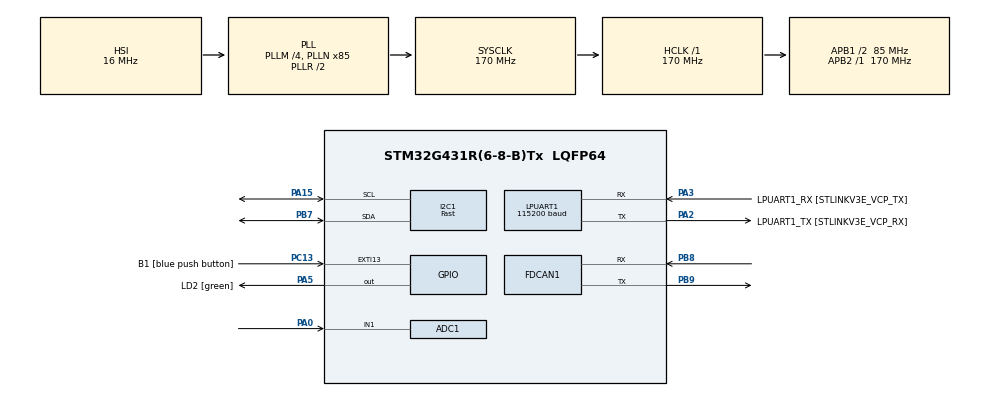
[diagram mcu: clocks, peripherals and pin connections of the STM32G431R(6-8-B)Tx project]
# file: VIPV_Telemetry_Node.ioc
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ADC1.Channel-0\#ChannelRegularConversion=ADC_CHANNEL_1
ADC1.NbrOfConversionFlag=1
ADC1.OffsetNumber-0\#ChannelRegularConversion=ADC_OFFSET_NONE
ADC1.Rank-0\#ChannelRegularConversion=1
ADC1.SamplingTime-0\#ChannelRegularConversion=ADC_SAMPLETIME_247CYCLES_5
ADC1.master=1
Dma.ADC1.0.Direction=DMA_PERIPH_TO_MEMORY
Dma.ADC1.0.EventEnable=DISABLE
Dma.ADC1.0.Instance=DMA1_Channel1
Dma.ADC1.0.MemDataAlignment=DMA_MDATAALIGN_HALFWORD
Dma.ADC1.0.MemInc=DMA_MINC_ENABLE
Dma.ADC1.0.Mode=DMA_CIRCULAR
Dma.ADC1.0.PeriphDataAlignment=DMA_PDATAALIGN_HALFWORD
Dma.ADC1.0.PeriphInc=DMA_PINC_DISABLE
Dma.ADC1.0.Polarity=HAL_DMAMUX_REQ_GEN_RISING
Dma.ADC1.0.Priority=DMA_PRIORITY_LOW
Dma.ADC1.0.RequestNumber=1
Dma.ADC1.0.SignalID=NONE
Dma.ADC1.0.SyncEnable=DISABLE
Dma.ADC1.0.SyncPolarity=HAL_DMAMUX_SYNC_NO_EVENT
Dma.ADC1.0.SyncRequestNumber=1
Dma.ADC1.0.SyncSignalID=NONE
Dma.Request0=ADC1
FDCAN1.CalculateBaudRateNominal=499999
FDCAN1.CalculateTimeBitNominal=2000
FDCAN1.CalculateTimeQuantumNominal=117.64705882352942
FDCAN1.Mode=FDCAN_MODE_NORMAL
FDCAN1.NominalPrescaler=10
FDCAN1.NominalTimeSeg1=14
FDCAN1.NominalTimeSeg2=2
I2C1.I2C_Speed_Mode=I2C_Fast
I2C1.Timing=0x20510E2D
LPUART1.BaudRate=115200
Mcu.Family=STM32G4
Mcu.Name=STM32G431R(6-8-B)Tx
Mcu.Package=LQFP64
NVIC.ADC1_2_IRQn=true\:0\:0\:false\:false\:true\:true\:true\:true
NVIC.DMA1_Channel1_IRQn=true\:0\:0\:false\:false\:true\:false\:true\:true
NVIC.FDCAN1_IT0_IRQn=true\:0\:0\:false\:false\:true\:true\:true\:true
NVIC.FDCAN1_IT1_IRQn=true\:0\:0\:false\:false\:true\:true\:true\:true
NVIC.I2C1_ER_IRQn=true\:0\:0\:false\:false\:true\:true\:true\:true
NVIC.I2C1_EV_IRQn=true\:0\:0\:false\:false\:true\:true\:true\:true
NVIC.PriorityGroup=NVIC_PRIORITYGROUP_4
PA0.Mode=IN1-Single-Ended
PA0.Signal=ADC1_IN1
PA13.GPIO_Label=T_SWDIO
PA13.Signal=SYS_JTMS-SWDIO
PA14.GPIO_Label=T_SWCLK
PA14.Signal=SYS_JTCK-SWCLK
PA15.Mode=I2C
PA15.Signal=I2C1_SCL
PA2.GPIO_Label=LPUART1_TX [STLINKV3E_VCP_RX]
PA2.Mode=Asynchronous
PA2.Signal=LPUART1_TX
PA3.GPIO_Label=LPUART1_RX [STLINKV3E_VCP_TX]
PA3.Mode=Asynchronous
PA3.Signal=LPUART1_RX
PA5.GPIO_Label=LD2 [green]
PA5.Signal=GPIO_Output
PB3.GPIO_Label=T_SWO
PB3.Signal=SYS_JTDO-SWO
PB7.Mode=I2C
PB7.Signal=I2C1_SDA
PB8-BOOT0.Mode=FDCAN_Activate
PB8-BOOT0.Signal=FDCAN1_RX
PB9.Mode=FDCAN_Activate
PB9.Signal=FDCAN1_TX
PC13.GPIO_Label=B1 [blue push button]
PC13.Signal=GPXTI13
PC14-OSC32_IN.GPIO_Label=RCC_OSC32_OUT
PC14-OSC32_IN.Signal=RCC_OSC32_IN
PC15-OSC32_OUT.GPIO_Label=RCC_OSC32_OUT
PC15-OSC32_OUT.Signal=RCC_OSC32_OUT
PF0-OSC_IN.GPIO_Label=RCC_OSC_IN
PF0-OSC_IN.Signal=RCC_OSC_IN
PF1-OSC_OUT.GPIO_Label=RCC_OSC_OUT
PF1-OSC_OUT.Signal=RCC_OSC_OUT
ProjectManager.HeapSize=0x200
ProjectManager.StackSize=0x400
ProjectManager.TargetToolchain=STM32CubeIDE
RCC.ADC12Freq_Value=170000000
RCC.AHBFreq_Value=170000000
RCC.APB1CLKDivider=RCC_HCLK_DIV2
RCC.APB1Freq_Value=85000000
RCC.APB1TimFreq_Value=170000000
RCC.APB2Freq_Value=170000000
RCC.APB2TimFreq_Value=170000000
RCC.CortexFreq_Value=170000000
RCC.EXTERNAL_CLOCK_VALUE=12288000
RCC.HCLKFreq_Value=170000000
RCC.HSE_VALUE=24000000
RCC.HSI48_VALUE=48000000
RCC.HSI_VALUE=16000000
RCC.LSE_VALUE=32768
RCC.PLLM=RCC_PLLM_DIV4
RCC.PLLN=85
RCC.RTCClockSelection=RCC_RTCCLKSOURCE_LSE
RCC.SYSCLKFreq_VALUE=170000000
RCC.SYSCLKSource=RCC_SYSCLKSOURCE_PLLCLK
RCC.USBFreq_Value=170000000
RCC.VCOOutputFreq_Value=340000000
VP_SYS_VS_DBSignals.Mode=DisableDeadBatterySignals
board=NUCLEO-G431RB

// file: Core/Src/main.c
/* USER CODE BEGIN Header */
/**
  ******************************************************************************
  * @file           : main.c
  * @brief          : Main program body
  ******************************************************************************
  * @attention
  *
  * Copyright (c) 2026 STMicroelectronics.
  * All rights reserved.
  *
  * This software is licensed under terms that can be found in the LICENSE file
  * in the root directory of this software component.
  * If no LICENSE file comes with this software, it is provided AS-IS.
  *
  ******************************************************************************
  */
/* USER CODE END Header */
#include "main.h"
#include "vipv_accel.h"
#include "vipv_temp.h"
#include "vipv_can.h"
//#include "vipv_power.h"
#include "vipv_mppt.h"
#include <stdio.h>
#include <string.h>

ADC_HandleTypeDef hadc1;
DMA_HandleTypeDef hdma_adc1;

FDCAN_HandleTypeDef hfdcan1;

I2C_HandleTypeDef hi2c1;

UART_HandleTypeDef hlpuart1;

/* USER CODE BEGIN PV */

//_________________________________________________________________________________________________________________________

volatile uint8_t flag_temp_ready = 0;    // Flag temperatura
volatile uint8_t flag_inercia_ready = 0; // Flag acelerómetro
volatile uint8_t flag_power_ready = 0;   // Flag sensor potencia
volatile uint8_t flag_adc_ready = 0;     // Flag ADC

uint8_t temp_buffer[2];                  // Buffer para almacenamiento de datos I2C del sensor temperatura
uint8_t inercia_buffer[6]; 				 // Buffer para almacenamiento datos I2C del acelerómetro (6 bytes (X, Y, Z))
uint8_t power_buffer[10];                // Buffer para almacenamiento de datos I2C del sensor potencia

float temperatura_real = 0.0;
volatile uint32_t adc_valor_bruto = 0;   // Para almacenar el dato de la interrupción ADC
uint32_t tiempo_anterior = 0;

//MÁQ. ESTADOS PARA MANEJO DEL CALLBACK DE LAS INTERRUPCIONES
typedef enum {
    BUS_LIBRE,
    LEYENDO_TEMP,
    LEYENDO_INERCIA,
	LEYENDO_POTENCIA,
	LEYENDO_IRRADIANCIA
} Estado_I2C;

volatile Estado_I2C sensor_actual = BUS_LIBRE; //variable que guarda qué sensor está usando el bus I2C

FDCAN_TxHeaderTypeDef TxHeader; // Estructura de la cabecera del mensaje FDCAN
uint8_t TxData[8]; // Array de 8 bytes para guardar los datos a transmitir

volatile uint8_t velocidad_coche = 0; // Para guardar la velocidad real capturada por OBD (en km/h)

//----------------------- ALGORITMO MPPT -----------------------------

// --- ARRAYS DE LAS CURVAS I-V ---
const float v_vector[50] = {0.0f, 0.5485f, 1.0970f, 1.6455f, 2.1941f, 2.7426f, 3.2911f, 3.8396f, 4.3881f, 4.9366f,
		5.4852f, 6.0337f, 6.5822f, 7.1307f, 7.6792f, 8.2277f, 8.7762f, 9.3248f, 9.8733f, 10.4218f, 10.9703f, 11.5188f,
		12.0673f, 12.6158f, 13.1644f, 13.7129f, 14.2614f, 14.8099f, 15.3584f, 15.9069f, 16.4555f, 17.0040f, 17.5525f,
		18.1010f, 18.6495f, 19.1980f, 19.7465f, 20.2951f, 20.8436f, 21.3921f, 21.9406f, 22.4891f, 23.0376f, 23.5862f,
		24.1347f, 24.6832f, 25.2317f, 25.7802f, 26.3287f, 26.8772f};

const float i_sol[50] = {0.9576f, 0.9472f, 0.9368f, 0.9265f, 0.9161f, 0.9057f, 0.8953f, 0.8849f, 0.8745f, 0.8651f,
		0.8596f, 0.8540f, 0.8482f, 0.8422f, 0.8360f, 0.8298f, 0.8244f, 0.8190f, 0.8134f, 0.8075f, 0.8015f, 0.7952f,
		0.7890f, 0.7835f, 0.7779f, 0.7721f, 0.7661f, 0.7598f, 0.7533f, 0.7468f, 0.7412f, 0.7354f, 0.7293f, 0.7229f,
		0.7163f, 0.7092f, 0.7018f, 0.6938f, 0.6852f, 0.6758f, 0.6654f, 0.6533f, 0.6392f, 0.6212f, 0.5962f, 0.5550f,
		0.4832f, 0.3640f, 0.1721f, -0.1322f};

const float i_sombra[50] = {0.7131f, 0.6996f, 0.6862f, 0.6727f, 0.6592f, 0.6458f, 0.6323f, 0.6248f, 0.6175f, 0.6099f,
		0.6020f, 0.5937f, 0.5848f, 0.5755f, 0.5658f, 0.5557f, 0.5453f, 0.5347f, 0.5239f, 0.5128f, 0.5034f, 0.4945f,
		0.4855f, 0.4763f, 0.4668f, 0.4571f, 0.4472f, 0.4369f, 0.4263f, 0.4153f, 0.4038f, 0.3920f, 0.3795f, 0.3665f,
		0.3531f, 0.3392f, 0.3250f, 0.3101f, 0.2947f, 0.2784f, 0.2612f, 0.2429f, 0.2233f, 0.2015f, 0.1775f, 0.1506f,
		0.1193f, 0.0737f, -0.0480f, -0.3115f};

//Arrays de potencia precalculada
float p_sol[50];
float p_sombra[50];

// --- VARIABLES DE CALIBRACIÓN STC ---
const float P_STC_REF = 56.233f; // Potencia máxima STC (condiciones de laboratorio)
const float IRR_STC_REF = 1000.0f; // Irradiancia STC

float irr_eq_sol = 0.0f;
float irr_eq_sombra = 0.0f;

//Umbrales de irradiancia calibrados
const float IRR_MAX = 1000.0f;
const float IRR_MIN = 10.0f;

// --- VARIABLES DE ESTADO MPPT ---
float mppt_v_ant = 0.0f;
float mppt_p_ant = 0.0f;
float mppt_v_act = 0.0f;
float mppt_paso = 0.1f; // Paso del algoritmo

//_______________________________________________________________________________________________________________________

/* USER CODE END PV */

void SystemClock_Config(void);
static void MX_GPIO_Init(void);
static void MX_DMA_Init(void);
static void MX_ADC1_Init(void);
static void MX_FDCAN1_Init(void);
static void MX_I2C1_Init(void);
static void MX_LPUART1_UART_Init(void);

int main(void)
{

  /* MCU Configuration--------------------------------------------------------*/

  /* Reset of all peripherals, Initializes the Flash interface and the Systick. */
  HAL_Init();

  /* Configure the system clock */
  SystemClock_Config();

  /* Initialize all configured peripherals */
  MX_GPIO_Init();
  MX_DMA_Init();
  MX_ADC1_Init();
  MX_FDCAN1_Init();
  MX_I2C1_Init();
  MX_LPUART1_UART_Init();

  /* USER CODE BEGIN 2 */

  //_________________________________________________________________________________________________________________________

  VIPV_Temp_Init(&hi2c1);
  VIPV_Accel_Init(&hi2c1, &hlpuart1);
 // VIPV_Power_Init(&hi2c1, &hlpuart1);
  VIPV_CAN_Init(&hfdcan1, &hlpuart1);

  HAL_ADCEx_Calibration_Start(&hadc1, ADC_SINGLE_ENDED);

    // --- PRECALCULAR ARRAYS DE POTENCIA Y CALCULAR MÓDULOS SOL Y SOMBRA ---
    float p_max_array_sol = 0.0f;
    float p_max_array_sombra = 0.0f;

    for(int i = 0; i < 50; i++) {
        // Cálculo de las potencias
        p_sol[i] = v_vector[i] * i_sol[i];
        p_sombra[i] = v_vector[i] * i_sombra[i];

        // Se busca el pico máximo de cada array
        if(p_sol[i] > p_max_array_sol) p_max_array_sol = p_sol[i];
        if(p_sombra[i] > p_max_array_sombra) p_max_array_sombra = p_sombra[i];
    }

    // Se calcula a qué irradiancia equivalente se midieron estas curvas (Regla de 3)
    irr_eq_sol = IRR_STC_REF * (p_max_array_sol / P_STC_REF);
    irr_eq_sombra = IRR_STC_REF * (p_max_array_sombra / P_STC_REF);

    // Se ajusta el inicio del MPPT para que empiece cerca del codo real (23V)
    mppt_v_act = 21.0f;
    mppt_v_ant = 20.9f;

  //_________________________________________________________________________________________________________________________

  // --- PUTTY: ESCÁNER I2C PARA DETECCIÓN DE ERRORES ---

  char msg[64];
  sprintf(msg, "\r\n=== INICIANDO DIAGNÓSTICO I2C ===\r\n");
  HAL_UART_Transmit(&hlpuart1, (uint8_t*)msg, strlen(msg), 100);

  int dispositivos_encontrados = 0;

  for(uint8_t i = 1; i < 128; i++) {
      // Mandar ping a la dirección 'i' desplazada 1 bit a la izquierda
      HAL_StatusTypeDef result = HAL_I2C_IsDeviceReady(&hi2c1, (uint16_t)(i<<1), 2, 10);

      if (result == HAL_OK) {
          sprintf(msg, "-> EXITO: Sensor detectado en dir: 0x%02X\r\n", i);
          HAL_UART_Transmit(&hlpuart1, (uint8_t*)msg, strlen(msg), 100);
          dispositivos_encontrados++;
      }
  }

  if(dispositivos_encontrados == 0){
      sprintf(msg, "-> ERROR CRÍTICO: El bus I2C NO RESPONDE\r\n");
      HAL_UART_Transmit(&hlpuart1, (uint8_t*)msg, strlen(msg), 100);
  }
  sprintf(msg, "=== FIN DEL DIAGNÓSTICO ===\r\n\r\n");
  HAL_UART_Transmit(&hlpuart1, (uint8_t*)msg, strlen(msg), 100);

  /* USER CODE END 2 */

  /* Infinite loop */
  while (1)
  {

    /* USER CODE BEGIN 3 */

   //_________________________________________________________________________________________________________________________

	  //------------------------- LECTURA DE LOS SENSORES (CADA 1 SEGUNDO) ------------------------------------------------

	  if (HAL_GetTick() - tiempo_anterior >= 1000) {

	            tiempo_anterior = HAL_GetTick(); //reset

	       // ARRANQUE DE SENSORES Y PETICIONES POR OBD (Nota: el acelerómetro se inicializa en vipv_accel.c)

	            // Disparo sensor potencia
	            //uint8_t cmd_refresh = 0x1F; // Comando REFRESH_V
	            //HAL_I2C_Master_Transmit(&hi2c1, 0x20, &cmd_refresh, 1, 10);

	            // Petición de Velocidad y de RPMs al coche por CAN (puerto OBD-II)
	            VIPV_CAN_Pedir_Velocidad(&hfdcan1); // (Petición de diagnóstico: 0x7DF)
	            VIPV_CAN_Pedir_RPM(&hfdcan1); // (Petición de diagnóstico: 0x7DF)

	            // --------------------------------------------------------------------
	            // SISTEMA DE PROTECCIÓN: WATCHDOG DE LA MÁQUINA DE ESTADOS
	            // --------------------------------------------------------------------
	            if (sensor_actual != BUS_LIBRE) { //para evitar el cuelgue del bus CAN

	            	// Reseteo del periférico de hardware I2C
	                HAL_I2C_DeInit(&hi2c1);
	                HAL_I2C_Init(&hi2c1);

	                // Limpieza de las banderas
	                flag_temp_ready = 0;
	                flag_inercia_ready = 0;

	                // Liberación del BUS
	                sensor_actual = BUS_LIBRE;
	            }
	            // --------------------------------------------------------------------
	            // Disparo inicial sensor temperatura
	            if(sensor_actual == BUS_LIBRE){
	                sensor_actual = LEYENDO_TEMP; //establecer estado de lectura de temperatura

	                HAL_I2C_Mem_Read_IT(&hi2c1, 0x7E, 0x06, I2C_MEMADD_SIZE_8BIT, temp_buffer, 2); // Lectura continua STTS22H
	      	  	  	//argumentos: hi2c, DevAddress, MemAddress, MemAddSize, pData, Size
	            }
	            // --------------------------------------------------------------------
	   }

	  //----------------------------------------- GESTIÓN DE RESPUESTAS ------------------------------------------------

	  if (flag_temp_ready == 1) {

	        flag_temp_ready = 0; // reseteo flag

	        // Extracción del float real cada vez que llega un valor de temperatura
	        float temperatura_actual = VIPV_Temp_Process(temp_buffer, &hlpuart1);

	        // Inyección del valor de temperatura en la red CAN con el ID 0x100
	        VIPV_CAN_Send_Entorno(&hfdcan1, &hlpuart1, temperatura_actual);

	        // Una vez el bus queda libre, se pasa el relevo al acelerómetro
	        sensor_actual = LEYENDO_INERCIA; //se establece el estado de lectura del acelerómetro

	        HAL_I2C_Mem_Read_IT(&hi2c1, 0x3A, 0x32, I2C_MEMADD_SIZE_8BIT, inercia_buffer, 6); // Lectura continua ADXL345
	        //argumentos: hi2c, DevAddress, MemAddress, MemAddSize, pData, Size
	  }

	  if (flag_inercia_ready == 1) {

	        flag_inercia_ready = 0; // reseteo flag

	        // Variables para guardar lo que devuelva el sensor
            float eje_x, eje_y, eje_z;

            // Procesar acelerómetro pasando las direcciones de memoria
	        VIPV_Accel_Process(inercia_buffer, &hlpuart1, &eje_x, &eje_y, &eje_z);

            // Inyectar en el CAN con el ID 0x101
            VIPV_CAN_Send_Dinamica(&hfdcan1, &hlpuart1, eje_x, eje_y, eje_z);

            /*
            // Una vez el bus queda libre, se pasa el relevo al sensor de potencia
            sensor_actual = LEYENDO_POTENCIA; //establecer estado de lectura del sensor potencia

            // Leer 10 bytes seguidos empezando en la dirección 0x07 (VBUS1)
            HAL_I2C_Mem_Read_IT(&hi2c1, 0x20, 0x07, I2C_MEMADD_SIZE_8BIT, power_buffer, 10);
            //argumentos: hi2c, DevAddress, MemAddress, MemAddSize, pData, Size
            */

            // Una vez el bus queda libre, se pasa el relevo al ADC para leer irradiancia
            sensor_actual = LEYENDO_IRRADIANCIA; //establecer estado de lectura de irradiancia

            HAL_ADC_Start_IT(&hadc1);
	  }

	  /*
	  if (flag_power_ready == 1) {

	  	    flag_power_ready = 0; // reseteo flag

	  	    // Variables para guardar lo que devuelva el sensor
	        float v_bus, i_sense, p_calc;

	        // Procesar sensor potencia pasando las direcciones de memoria
	  	    VIPV_Power_Process(power_buffer, &hlpuart1, &v_bus, &i_sense, &p_calc);

	  	    // Inyectar en el CAN con el ID 0x102
	  	    VIPV_CAN_Send_Potencia(&hfdcan1, &hlpuart1, v_bus, i_sense, p_calc);

            // Una vez el BUS QUEDA LIBRE, pasar el relevo al ADC para leer irradiancia
            sensor_actual = LEYENDO_IRRADIANCIA; //establecer estado de lectura de irradiancia

            HAL_ADC_Start_IT(&hadc1);
	  }
 	 */

	  if (flag_adc_ready == 1) {

		    flag_adc_ready = 0; // reseteo flag

		    // 1. LECTURA DE LA IRRADIANCIA

		    // Convertir a Voltios reales (El ADC de la placa tiene una resolución de 12 bits --> Arroja valores de 0 a 4095)
		    float voltaje_adc = ((float)adc_valor_bruto / 4095.0f) * 3.3f; //Un valor del ADC de 4095 equivale a 3.3V

		    //Constante de Calibración (OBTENIDA EMPÍRICAMENTE EN LABORATORIO PARA UNA RESISTENCIA DE 10.7 ohm)
		    float constante_calibracion = 934.58f;
		    float irradiancia = voltaje_adc * constante_calibracion;

		    // Enviar por CAN los datos recibidos
		    VIPV_CAN_Send_Irradiancia(&hfdcan1, &hlpuart1, irradiancia);

		    // 2. EJECUCIÓN DEL ALGORITMO MPPT ADAPTATIVO
		    /*
		    const float *i_vector_actual;

		    if (irradiancia > 150.0f) { // Se elige 150W/m^2 como el umbral de Sol/sombra
		        i_vector_actual = i_sol;
		    }
		    else {
		        i_vector_actual = i_sombra;
		    }
		    */

		    /*
		    float *p_array_actual; // Puntero al array de potencia que toque

		    if (irradiancia > 150.0f) { // Se elige 150W/m^2 como el umbral de Sol/sombra
		        p_array_actual = p_sol;
		    } else {
		        p_array_actual = p_sombra;
		    }
		    */

		    // Cálculo potencia instante actual
		    float mppt_p_act = obtener_potencia_dinamica(mppt_v_act, irradiancia);

		    // FILTRO ADAPTATIVO
		    //float mppt_v_sig = ejecutar_mppt_adaptativo(mppt_v_act, irradiancia, mppt_v_ant, mppt_p_ant, mppt_paso, mppt_p_act);
		    MPPT_Modo_t modo_mppt = ejecutar_mppt_adaptativo(&mppt_v_act, irradiancia, mppt_v_ant, mppt_p_ant, mppt_paso, mppt_p_act);

		    if (modo_mppt == MPPT_MODO_CONGELADO) { // ESTADO: CONGELADO
		    	// ESTADO CONGELADO: mppt_v_act se bloquea en el punto dinámico anterior

		    	// Actualizar datos para la siguiente iteración
		    	mppt_v_ant = mppt_v_act;
		    	mppt_p_ant = mppt_p_act;

		        //mppt_p_ant = obtener_potencia_dinamica(19.5f, irradiancia);
		    }
		    else {
		    	// ESTADO NORMAL
			    for (int j = 0; j < 9; j++) { // Aumento de la velocidad de seguimiento del MPPT en 10 pasos

			    	//float mppt_p_act = obtener_potencia_dinamica(mppt_v_act, irradiancia);
			    	mppt_p_act = obtener_potencia_dinamica(mppt_v_act, irradiancia);
			    	float mppt_v_sig = mppt_po(mppt_v_act, mppt_p_act, mppt_v_ant, mppt_p_ant, mppt_paso);

			        // Actualizar datos para la siguiente iteración
			        mppt_v_ant = mppt_v_act;
			        mppt_p_ant = mppt_p_act;
			        mppt_v_act = mppt_v_sig;
			    }
		    }

		    // Se empaqueta el resultado en CAN. Se envían: Voltaje actual, 0.0 en Corriente y Potencia resultante
		    VIPV_CAN_Send_Potencia(&hfdcan1, &hlpuart1, mppt_v_act, 0.0f, mppt_p_ant);

		    // Se apaga el ADC hasta próxima lectura
		    HAL_ADC_Stop_IT(&hadc1);
	  }

   //_________________________________________________________________________________________________________________________

  }
  /* USER CODE END 3 */
}

void SystemClock_Config(void)
{
  RCC_OscInitTypeDef RCC_OscInitStruct = {0};
  RCC_ClkInitTypeDef RCC_ClkInitStruct = {0};

  /** Configure the main internal regulator output voltage
  */
  HAL_PWREx_ControlVoltageScaling(PWR_REGULATOR_VOLTAGE_SCALE1_BOOST);

  /** Initializes the RCC Oscillators according to the specified parameters
  * in the RCC_OscInitTypeDef structure.
  */
  RCC_OscInitStruct.OscillatorType = RCC_OSCILLATORTYPE_HSI;
  RCC_OscInitStruct.HSIState = RCC_HSI_ON;
  RCC_OscInitStruct.HSICalibrationValue = RCC_HSICALIBRATION_DEFAULT;
  RCC_OscInitStruct.PLL.PLLState = RCC_PLL_ON;
  RCC_OscInitStruct.PLL.PLLSource = RCC_PLLSOURCE_HSI;
  RCC_OscInitStruct.PLL.PLLM = RCC_PLLM_DIV4;
  RCC_OscInitStruct.PLL.PLLN = 85;
  RCC_OscInitStruct.PLL.PLLP = RCC_PLLP_DIV2;
  RCC_OscInitStruct.PLL.PLLQ = RCC_PLLQ_DIV2;
  RCC_OscInitStruct.PLL.PLLR = RCC_PLLR_DIV2;
  if (HAL_RCC_OscConfig(&RCC_OscInitStruct) != HAL_OK)
  {
    Error_Handler();
  }

  /** Initializes the CPU, AHB and APB buses clocks
  */
  RCC_ClkInitStruct.ClockType = RCC_CLOCKTYPE_HCLK|RCC_CLOCKTYPE_SYSCLK
                              |RCC_CLOCKTYPE_PCLK1|RCC_CLOCKTYPE_PCLK2;
  RCC_ClkInitStruct.SYSCLKSource = RCC_SYSCLKSOURCE_PLLCLK;
  RCC_ClkInitStruct.AHBCLKDivider = RCC_SYSCLK_DIV1;
  RCC_ClkInitStruct.APB1CLKDivider = RCC_HCLK_DIV2;
  RCC_ClkInitStruct.APB2CLKDivider = RCC_HCLK_DIV1;

  if (HAL_RCC_ClockConfig(&RCC_ClkInitStruct, FLASH_LATENCY_4) != HAL_OK)
  {
    Error_Handler();
  }
}

static void MX_ADC1_Init(void)
{

  ADC_MultiModeTypeDef multimode = {0};
  ADC_ChannelConfTypeDef sConfig = {0};

  /** Common config
  */
  hadc1.Instance = ADC1;
  hadc1.Init.ClockPrescaler = ADC_CLOCK_SYNC_PCLK_DIV4;
  hadc1.Init.Resolution = ADC_RESOLUTION_12B;
  hadc1.Init.DataAlign = ADC_DATAALIGN_RIGHT;
  hadc1.Init.GainCompensation = 0;
  hadc1.Init.ScanConvMode = ADC_SCAN_DISABLE;
  hadc1.Init.EOCSelection = ADC_EOC_SINGLE_CONV;
  hadc1.Init.LowPowerAutoWait = DISABLE;
  hadc1.Init.ContinuousConvMode = DISABLE;
  hadc1.Init.NbrOfConversion = 1;
  hadc1.Init.DiscontinuousConvMode = DISABLE;
  hadc1.Init.ExternalTrigConv = ADC_SOFTWARE_START;
  hadc1.Init.ExternalTrigConvEdge = ADC_EXTERNALTRIGCONVEDGE_NONE;
  hadc1.Init.DMAContinuousRequests = DISABLE;
  hadc1.Init.Overrun = ADC_OVR_DATA_PRESERVED;
  hadc1.Init.OversamplingMode = DISABLE;
  if (HAL_ADC_Init(&hadc1) != HAL_OK)
  {
    Error_Handler();
  }

  /** Configure the ADC multi-mode
  */
  multimode.Mode = ADC_MODE_INDEPENDENT;
  if (HAL_ADCEx_MultiModeConfigChannel(&hadc1, &multimode) != HAL_OK)
  {
    Error_Handler();
  }

  /** Configure Regular Channel
  */
  sConfig.Channel = ADC_CHANNEL_1;
  sConfig.Rank = ADC_REGULAR_RANK_1;
  sConfig.SamplingTime = ADC_SAMPLETIME_247CYCLES_5;
  sConfig.SingleDiff = ADC_SINGLE_ENDED;
  sConfig.OffsetNumber = ADC_OFFSET_NONE;
  sConfig.Offset = 0;
  if (HAL_ADC_ConfigChannel(&hadc1, &sConfig) != HAL_OK)
  {
    Error_Handler();
  }

}

static void MX_FDCAN1_Init(void)
{

  hfdcan1.Instance = FDCAN1;
  hfdcan1.Init.ClockDivider = FDCAN_CLOCK_DIV1;
  hfdcan1.Init.FrameFormat = FDCAN_FRAME_CLASSIC;
  hfdcan1.Init.Mode = FDCAN_MODE_NORMAL;
  hfdcan1.Init.AutoRetransmission = DISABLE;
  hfdcan1.Init.TransmitPause = DISABLE;
  hfdcan1.Init.ProtocolException = DISABLE;
  hfdcan1.Init.NominalPrescaler = 10;
  hfdcan1.Init.NominalSyncJumpWidth = 1;
  hfdcan1.Init.NominalTimeSeg1 = 14;
  hfdcan1.Init.NominalTimeSeg2 = 2;
  hfdcan1.Init.DataPrescaler = 1;
  hfdcan1.Init.DataSyncJumpWidth = 1;
  hfdcan1.Init.DataTimeSeg1 = 1;
  hfdcan1.Init.DataTimeSeg2 = 1;
  hfdcan1.Init.StdFiltersNbr = 0;
  hfdcan1.Init.ExtFiltersNbr = 0;
  hfdcan1.Init.TxFifoQueueMode = FDCAN_TX_FIFO_OPERATION;
  if (HAL_FDCAN_Init(&hfdcan1) != HAL_OK)
  {
    Error_Handler();
  }

}

static void MX_I2C1_Init(void)
{

  hi2c1.Instance = I2C1;
  hi2c1.Init.Timing = 0x20510E2D;
  hi2c1.Init.OwnAddress1 = 0;
  hi2c1.Init.AddressingMode = I2C_ADDRESSINGMODE_7BIT;
  hi2c1.Init.DualAddressMode = I2C_DUALADDRESS_DISABLE;
  hi2c1.Init.OwnAddress2 = 0;
  hi2c1.Init.OwnAddress2Masks = I2C_OA2_NOMASK;
  hi2c1.Init.GeneralCallMode = I2C_GENERALCALL_DISABLE;
  hi2c1.Init.NoStretchMode = I2C_NOSTRETCH_DISABLE;
  if (HAL_I2C_Init(&hi2c1) != HAL_OK)
  {
    Error_Handler();
  }

  /** Configure Analogue filter
  */
  if (HAL_I2CEx_ConfigAnalogFilter(&hi2c1, I2C_ANALOGFILTER_ENABLE) != HAL_OK)
  {
    Error_Handler();
  }

  /** Configure Digital filter
  */
  if (HAL_I2CEx_ConfigDigitalFilter(&hi2c1, 0) != HAL_OK)
  {
    Error_Handler();
  }

}

static void MX_LPUART1_UART_Init(void)
{

  hlpuart1.Instance = LPUART1;
  hlpuart1.Init.BaudRate = 115200;
  hlpuart1.Init.WordLength = UART_WORDLENGTH_8B;
  hlpuart1.Init.StopBits = UART_STOPBITS_1;
  hlpuart1.Init.Parity = UART_PARITY_NONE;
  hlpuart1.Init.Mode = UART_MODE_TX_RX;
  hlpuart1.Init.HwFlowCtl = UART_HWCONTROL_NONE;
  hlpuart1.Init.OneBitSampling = UART_ONE_BIT_SAMPLE_DISABLE;
  hlpuart1.Init.ClockPrescaler = UART_PRESCALER_DIV1;
  hlpuart1.AdvancedInit.AdvFeatureInit = UART_ADVFEATURE_NO_INIT;
  if (HAL_UART_Init(&hlpuart1) != HAL_OK)
  {
    Error_Handler();
  }
  if (HAL_UARTEx_SetTxFifoThreshold(&hlpuart1, UART_TXFIFO_THRESHOLD_1_8) != HAL_OK)
  {
    Error_Handler();
  }
  if (HAL_UARTEx_SetRxFifoThreshold(&hlpuart1, UART_RXFIFO_THRESHOLD_1_8) != HAL_OK)
  {
    Error_Handler();
  }
  if (HAL_UARTEx_DisableFifoMode(&hlpuart1) != HAL_OK)
  {
    Error_Handler();
  }

}

static void MX_DMA_Init(void)
{

  /* DMA controller clock enable */
  __HAL_RCC_DMAMUX1_CLK_ENABLE();
  __HAL_RCC_DMA1_CLK_ENABLE();

  /* DMA interrupt init */
  /* DMA1_Channel1_IRQn interrupt configuration */
  HAL_NVIC_SetPriority(DMA1_Channel1_IRQn, 0, 0);
  HAL_NVIC_EnableIRQ(DMA1_Channel1_IRQn);

}

static void MX_GPIO_Init(void)
{
  GPIO_InitTypeDef GPIO_InitStruct = {0};

  /* GPIO Ports Clock Enable */
  __HAL_RCC_GPIOC_CLK_ENABLE();
  __HAL_RCC_GPIOF_CLK_ENABLE();
  __HAL_RCC_GPIOA_CLK_ENABLE();
  __HAL_RCC_GPIOB_CLK_ENABLE();

  /*Configure GPIO pin Output Level */
  HAL_GPIO_WritePin(LD2_GPIO_Port, LD2_Pin, GPIO_PIN_RESET);

  /*Configure GPIO pin : B1_Pin */
  GPIO_InitStruct.Pin = B1_Pin;
  GPIO_InitStruct.Mode = GPIO_MODE_IT_RISING;
  GPIO_InitStruct.Pull = GPIO_NOPULL;
  HAL_GPIO_Init(B1_GPIO_Port, &GPIO_InitStruct);

  /*Configure GPIO pin : LD2_Pin */
  GPIO_InitStruct.Pin = LD2_Pin;
  GPIO_InitStruct.Mode = GPIO_MODE_OUTPUT_PP;
  GPIO_InitStruct.Pull = GPIO_NOPULL;
  GPIO_InitStruct.Speed = GPIO_SPEED_FREQ_LOW;
  HAL_GPIO_Init(LD2_GPIO_Port, &GPIO_InitStruct);

}

/* USER CODE BEGIN 4 */

//_________________________________________________________________________________________________________________________

void HAL_I2C_MemRxCpltCallback(I2C_HandleTypeDef *hi2c){

    if (hi2c->Instance == I2C1) {

    	if (sensor_actual == LEYENDO_TEMP) {  // El I2C ha terminado de descargar los datos en temp_buffer

    	    flag_temp_ready = 1; // Avisar al main
    	}
    	else if (sensor_actual == LEYENDO_INERCIA) {  // El I2C ha terminado de descargar los datos en inercia_buffer

    	    flag_inercia_ready = 1; // Avisar al main
    	}
    	/*
    	else if (sensor_actual == LEYENDO_POTENCIA) { // El I2C ha terminado de descargar los datos en power_buffer

    	    flag_power_ready = 1; // Avisar al main
    	}
    	*/

        // Liberar bus al terminar
        sensor_actual = BUS_LIBRE;
    }
}

//Callback para lectura de la irradiancia
void HAL_ADC_ConvCpltCallback(ADC_HandleTypeDef* hadc) {

    if (hadc->Instance == ADC1) {

        if (sensor_actual == LEYENDO_IRRADIANCIA) {

            adc_valor_bruto = HAL_ADC_GetValue(hadc);
            flag_adc_ready = 1;

            sensor_actual = BUS_LIBRE; // Liberar bus al terminar
        }

    }
}

// Callback para recepción de mensajes CAN (Respuestas del coche por OBD)
void HAL_FDCAN_RxFifo0Callback(FDCAN_HandleTypeDef *hfdcan, uint32_t RxFifo0ITs) {
    FDCAN_RxHeaderTypeDef RxHeader;
    uint8_t RxData[8];

    // Leer el mensaje entrante
    if (HAL_FDCAN_GetRxMessage(hfdcan, FDCAN_RX_FIFO0, &RxHeader, RxData) == HAL_OK) {

        // Comprobar que es la ECU del motor (0x7E8) y que responde al PID de Velocidad (0x0D)
        if (RxHeader.Identifier == 0x7E8 && RxData[2] == 0x0D) {

            // Extraer el byte 3, que contiene la velocidad directamente en km/h
            velocidad_coche = RxData[3];
        }
    }
}

//_________________________________________________________________________________________________________________________

/* USER CODE END 4 */

void Error_Handler(void)
{
  __disable_irq();
  while (1)
  {
  }
}
